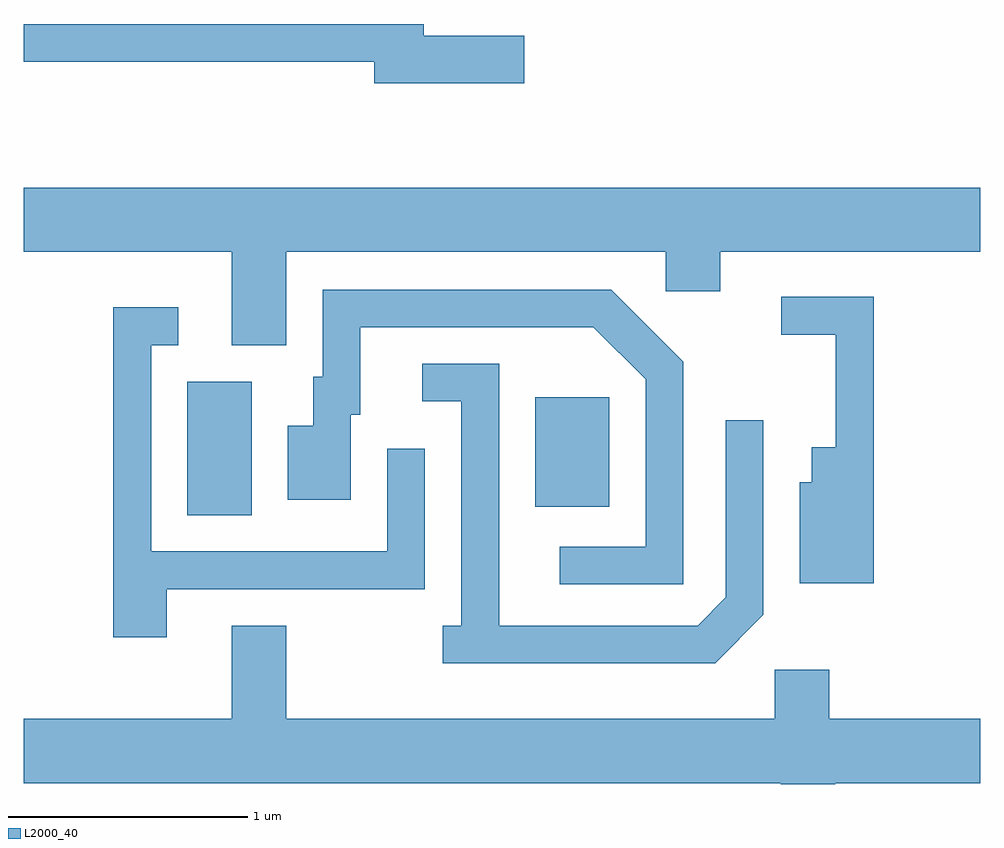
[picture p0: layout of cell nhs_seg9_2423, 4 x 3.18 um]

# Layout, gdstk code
import gdstk
lib = gdstk.Library(unit=1e-6, precision=1e-09)
def R(c, l, rs):  # rectangles x0, y0, x1, y1
    for r in rs: c.add(gdstk.rectangle(r[:2], r[2:], *l))
def P(c, l, *ps):  # polygons
    for p in ps: c.add(gdstk.Polygon(p, *l))
L2000_40 = (2000, 40)

nhs_seg9_2423 = lib.new_cell('nhs_seg9_2423')
R(nhs_seg9_2423, L2000_40, [(256.296,2039.556,256.564,2040.114), (257.751,2039.591,258.059,2040.049)])
P(nhs_seg9_2423, L2000_40, [(257.704,2041.559),(257.284,2041.559),(257.284,2041.609),(255.611,2041.609),(255.611,2041.451),(257.076,2041.451),(257.076,2041.361),(257.704,2041.361)],
  [(256.709,2040.656),(258.296,2040.656),(258.296,2040.491),(258.524,2040.491),(258.524,2040.656),(259.611,2040.656),(259.611,2040.924),(255.611,2040.924),(255.611,2040.656),(256.481,2040.656),(256.481,2040.266),(256.709,2040.266)],
  [(258.369,2040.197),(258.067,2040.499),(256.861,2040.499),(256.861,2040.134),(256.821,2040.134),(256.821,2039.929),(256.716,2039.929),(256.716,2039.621),(256.979,2039.621),(256.979,2039.976),(257.019,2039.976),(257.019,2040.341),(257.993,2040.341),(258.211,2040.124),(258.211,2039.424),(257.853,2039.424),(257.853,2039.266),(258.369,2039.266)],
  [(259.164,2040.469),(258.778,2040.469),(258.778,2040.311),(259.006,2040.311),(259.006,2039.839),(258.906,2039.839),(258.906,2039.694),(258.856,2039.694),(258.856,2039.271),(259.164,2039.271)],
  [(256.209,2039.246),(257.289,2039.246),(257.289,2039.833),(257.131,2039.833),(257.131,2039.404),(256.144,2039.404),(256.144,2040.266),(256.258,2040.266),(256.258,2040.424),(255.986,2040.424),(255.986,2039.046),(256.209,2039.046)],
  [(258.704,2039.139),(258.704,2039.953),(258.546,2039.953),(258.546,2039.212),(258.429,2039.094),(257.599,2039.094),(257.599,2040.189),(257.278,2040.189),(257.278,2040.031),(257.441,2040.031),(257.441,2039.094),(257.363,2039.094),(257.363,2038.936),(258.502,2038.936)],
  [(259.004,2038.436),(259.611,2038.436),(259.611,2038.704),(258.979,2038.704),(258.979,2038.909),(258.751,2038.909),(258.751,2038.704),(256.709,2038.704),(256.709,2039.094),(256.481,2039.094),(256.481,2038.704),(255.611,2038.704),(255.611,2038.436),(258.776,2038.436),(258.776,2038.432),(259.004,2038.432)])

lib.write_gds('nhs_seg9_2423.gds')
